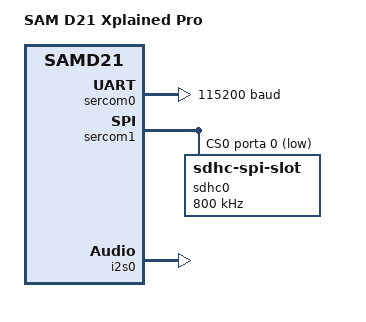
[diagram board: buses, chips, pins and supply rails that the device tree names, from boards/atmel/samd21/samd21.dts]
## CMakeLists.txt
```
cmake_minimum_required(VERSION 3.20.0)

list(APPEND BOARD_ROOT ${CMAKE_CURRENT_SOURCE_DIR})
list(APPEND DTS_ROOT ${CMAKE_CURRENT_SOURCE_DIR})


find_package(Zephyr REQUIRED HINTS $ENV{ZEPHYR_BASE})


project(philly)

enable_language(C ASM)

#add_subdirectory(drivers/i2s)

target_sources(app PRIVATE
src/main.c
)

include(drivers/i2s/i2s_drivers.cmake)
```

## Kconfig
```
# Copyright (c) 2021 Nordic Semiconductor ASA
# SPDX-License-Identifier: Apache-2.0
#
# This file is the application Kconfig entry point. All application Kconfig
# options can be defined here or included via other application Kconfig files.
# You can browse these options using the west targets menuconfig (terminal) or
# guiconfig (GUI).

menu "Zephyr"
source "Kconfig.zephyr"
endmenu

module = APP
module-str = APP
source "subsys/logging/Kconfig.template.log_config"

rsource "drivers/Kconfig"
```

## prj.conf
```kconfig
CONFIG_BUILD_OUTPUT_HEX=y
CONFIG_DISK_DRIVER_SDMMC=y
CONFIG_DISK_ACCESS=y
CONFIG_LOG=y
CONFIG_FILE_SYSTEM=y
CONFIG_FS_FATFS_EXFAT=y
CONFIG_FAT_FILESYSTEM_ELM=y
CONFIG_PRINTK=y
CONFIG_MAIN_STACK_SIZE=2048
CONFIG_KERNEL_BIN_NAME="philly_app"
```

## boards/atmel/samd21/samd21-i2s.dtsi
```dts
/*
 * Copyright (c) 2024 Klaus Nagel, <nagelkl01@gmail.com>
 *
 * SPDX-License-Identifier: Apache-2.0
 */

/ {
    soc {
        i2s0: i2s0@42005000 {
	        compatible = "atmel,i2s-sam0";
	        #address-cells = <1>;
	        #size-cells = <0>;
	        reg = <0x42005000 0x400>;
	        interrupts = <27 0>;
			clocks = <&gclk 35>, <&pm 0x20 20>;
			clock-names = "GCLK", "PM";
			atmel,assigned-clocks = <&gclk 0>;
			atmel,assigned-clock-names = "GCLK";
            dmas = <&dmac 0 41>,  
            		<&dmac 1 43>;
            dma-names = "rx", "tx";
	        status = "disabled";
			no-mck;
        };
	};
};
```

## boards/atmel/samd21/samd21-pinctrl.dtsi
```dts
/*
 * Copyright (c) 2022, Gerson Fernando Budke <nandojve@gmail.com>
 * SPDX-License-Identifier: Apache-2.0
 */

#include <dt-bindings/pinctrl/samd21-da1gXabcd-pinctrl.h>

&pinctrl {

	sercom0_uart_default: sercom0_uart_default {
		group1 {
			pinmux = <PA11C_SERCOM0_PAD3>,
				 <PA10C_SERCOM0_PAD2>;
		};
	};

	sercom1_spi_default: sercom1_spi_default {
		group1 {
			pinmux = <PA18C_SERCOM1_PAD2>,
				 <PA17C_SERCOM1_PAD1>,
				 <PA16C_SERCOM1_PAD0>;
		};
	};

	sam0_i2s_default: sam0_i2s_default {
		group1 {
			pinmux = <PA7G_IIS0_SD>, // esc_pwm_3 (orange)
					<PA20G_IIS0_SCK>, // ser_5_0 (green)
					<PA21G_IIS0_FS>; // ser_5_1 (blue)
		};
	};
};
```

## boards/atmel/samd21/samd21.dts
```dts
/*
 * Copyright (c) 2018 Bryan O'Donoghue
 * Copyright (c) 2024 Gerson Fernando Budke <nandojve@gmail.com>
 *
 * SPDX-License-Identifier: Apache-2.0
 */

/dts-v1/;
#include <freq.h>
#include <atmel/samd21.dtsi>
#include <atmel/samx2xx18.dtsi>
#include "samd21-pinctrl.dtsi"
#include "samd21-i2s.dtsi"
#include <zephyr/dt-bindings/input/input-event-codes.h>

/ {
	model = "SAM D21 Xplained Pro";
	compatible = "samd21,xpro", "atmel,samd21j18a", "atmel,samd21";

	chosen {
		zephyr,console = &sercom0;
		zephyr,shell-uart = &sercom0;
		zephyr,sram = &sram0;
		zephyr,flash = &flash0;
	};

	aliases {
		i2s = &i2s0;
		sdhc = &sdhc0;
	};
};

&cpu0 {
	clock-frequency = <DT_FREQ_M(48)>;
};

&sercom0 {
	status = "okay";
	compatible = "atmel,sam0-uart";
	current-speed = <115200>;
	rxpo = <3>;
	txpo = <1>;

	pinctrl-0 = <&sercom0_uart_default>;
	pinctrl-names = "default";
};

&sercom1 {
	status = "okay";
	compatible = "atmel,sam0-spi";
	dipo = <0x2>;
	dopo = <0x0>;
	#address-cells = <1>;
	#size-cells = <0>;

	pinctrl-0 = <&sercom1_spi_default>;
	pinctrl-names = "default";

	cs-gpios = <&porta 0 GPIO_ACTIVE_LOW>;

	sdhc0: sdhc@0 {
		compatible = "zephyr,sdhc-spi-slot";
		reg = <0>;
		status = "okay";
		spi-max-frequency = <800000>;
		sd {
			compatible = "zephyr,sdmmc-disk";
			disk-name = "SD";
			status = "okay";
		};
	};
};


&dmac {
	status = "okay";
};

&i2s0 {
	status = "okay";

	pinctrl-0 = <&sam0_i2s_default>;
	pinctrl-names = "default";
};
```

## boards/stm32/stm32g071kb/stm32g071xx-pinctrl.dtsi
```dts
/*
 * Copyright (c) 2022, Gerson Fernando Budke <nandojve@gmail.com>
 * SPDX-License-Identifier: Apache-2.0
 */

#include <zephyr/dt-bindings/pinctrl/stm32-pinctrl.h>

&pinctrl {

	lpuart1_tx_pa09_af1: uart1_tx {
		pinmux = <STM32_PINMUX('A', 9, AF1)>;
	};
	
	lpuart1_rx_pa10_af1: uart1_rx {
		pinmux = <STM32_PINMUX('A', 10, AF1)>;
	};
	
	spi2_miso_pb06_af3: spi2_miso {
		pinmux = <STM32_PINMUX('B', 6, AF3)>;
	};
	
	spi2_mosi_pb07_af1: spi2_mosi {
		pinmux = <STM32_PINMUX('B', 7, AF1)>;
	};
	
	spi2_sck_pb08_af1: spi2_sck {
		pinmux = <STM32_PINMUX('B', 8, AF1)>;
	};
	
	spi2_cs_pb09_af4: spi2_cs {
		pinmux = <STM32_PINMUX('B', 9, AF4)>;
	};

	i2s1_ws_pa04_af1: i2s1_ws {
		pinmux = <STM32_PINMUX('A', 4, AF1)>;
	};

	i2s1_ck_pa05_af1: i2s1_ck {
		pinmux = <STM32_PINMUX('A', 5, AF1)>;
	};

	i2s1_sd_pa07_af1: i2s1_sd {
		pinmux = <STM32_PINMUX('A', 7, AF1)>;
	};

};
```

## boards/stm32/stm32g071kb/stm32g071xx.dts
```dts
/*
 * Copyright (c) 2024 Klaus Nagel, <nagelkl01@gmail.com>
 *
 * SPDX-License-Identifier: Apache-2.0
 */

/dts-v1/;
#include <st/g0/stm32g071Xb.dtsi>
#include "stm32g071xx-pinctrl.dtsi"
#include "stm32g071xx-i2s.dtsi"

/ {
	model = "STMicroelectronics STM32G071XX based board";
	compatible = "st,stm32g071", "st,stm32g0", "simple-bus";

	chosen {
		zephyr,console = &lpuart1;
		zephyr,shell-uart = &lpuart1;
		zephyr,sram = &sram0;
		zephyr,flash = &flash0;
	};
};

stm32_lp_tick_source: &lptim1 {
	clocks = <&rcc STM32_CLOCK_BUS_APB1 0x80000000>,
			 <&rcc STM32_SRC_LSI LPTIM1_SEL(3)>;
	status = "okay";
};

&dma1 {
	status = "okay";
};

&lpuart1 {
	pinctrl-0 = <&lpuart1_tx_pa09_af1 &lpuart1_rx_pa10_af1>;
	pinctrl-names = "default";
	current-speed = <115200>;
	status = "okay";
};

&clk_hsi {
	status = "okay";
};

&pll {
	div-m = <1>;
	mul-n = <8>;
	div-p = <2>;
	div-q = <2>;
	div-r = <2>;
	clocks = <&clk_hsi>;
	status = "okay";
};

&rcc {
	clocks = <&pll>;
	clock-frequency = <DT_FREQ_M(64)>;
	ahb-prescaler = <1>;
	apb1-prescaler = <1>;
};

&spi1 {
	status = "disabled";
};

&spi2 {
	pinctrl-names = "default";
	pinctrl-0 = <&spi2_miso_pb06_af3
				 &spi2_mosi_pb07_af1 
				 &spi2_sck_pb08_af1
				 &spi2_cs_pb09_af4>;
	
	status = "okay";

	sdcard@0 {
		compatible = "zephyr,sdhc-spi-slot";
		reg = <0>;
		status = "okay";
		spi-max-frequency = <800000>;
		sd {
			compatible = "zephyr,sdmmc-disk";
			disk-name = "SD";
			status = "okay";
		};
	};
};

&i2s1 {
	status = "okay";

	pinctrl-0 = <&i2s1_ws_pa04_af1 &i2s1_ck_pa05_af1 &i2s1_sd_pa07_af1>;
	pinctrl-names = "default";
};
```

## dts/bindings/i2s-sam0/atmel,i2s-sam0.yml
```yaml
# Copyright (c) 2024 Nordic Semiconductor ASA
# SPDX-License-Identifier: Apache-2.0

description: |
  A generic binding for SAM0 I2S.

  Example definition in devicetree:
  
  i2s0: i2s@42005000 {
    compatible = "atmel,i2s-sam0";
    #address-cells = <1>;
    #size-cells = <0>;
    reg = <0x42005000 0x400>;
    interrupts = <27 0>;
    clocks = <&gclk 35>, <&pm 0x20 20>;
    clock-names = "I2S", "I2S_PM";
    dmas = <&dmac 41 0 &dmac 43 0>;
    dma-names = "rx", "tx";
    status = "disabled";
  };

compatible: "atmel,i2s-sam0"

include: [base.yaml, i2s-controller.yaml, pinctrl-device.yaml, "atmel,assigned-clocks.yaml" ]

properties:
  reg:
    required: true

  interrupts:
    required: true

  clocks:
    required: true
  
  clock-names:
    required: true
  
  atmel,assigned-clocks:
    required: true

  atmel,assigned-clock-names:
    required: true

  dmas:
    required: true

  dma-names:
    required: true

  no-mck:
    type: boolean
    required: false
```

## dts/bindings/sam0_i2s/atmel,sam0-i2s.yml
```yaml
# Copyright (c) 2024 Nordic Semiconductor ASA
# SPDX-License-Identifier: Apache-2.0

description: |
  A generic binding for SAM0 I2S.

  Example definition in devicetree:
  
  i2s0: i2s@42005000 {
    compatible = "atmel,sam0-i2s";
    #address-cells = <1>;
    #size-cells = <0>;
    reg = <0x42005000 0x400>;
    interrupts = <27 0>;
    clocks = <&gclk 35>, <&pm 0x20 20>;
    clock-names = "I2S", "I2S_PM";
    dmas = <&dmac 41 0 &dmac 43 0>;
    dma-names = "rx", "tx";
    status = "disabled";
  };

compatible: "atmel,sam0-i2s"

include: [i2s-controller.yaml, base.yaml, pinctrl-device.yaml, "atmel,assigned-clocks.yaml" ]

properties:
  reg:
    required: true

  interrupts:
    required: true

  clocks:
    required: true
  
  clock-names:
    required: true
  
  atmel,assigned-clocks:
    required: true

  atmel,assigned-clock-names:
    required: true

  dmas:
    required: true

  dma-names:
    required: true
```

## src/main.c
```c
/*
 * Copyright 2023 NXP
 *
 * SPDX-License-Identifier: Apache-2.0
 */

 #include <stdio.h>
 #include <zephyr/kernel.h>
 #include <zephyr/drivers/i2s.h>
 #include <zephyr/sys/iterable_sections.h>
 
 #define SAMPLE_NO 64
 
 /* The data represent a sine wave */
 static int16_t data[SAMPLE_NO] = {
       3211,   6392,   9511,  12539,  15446,  18204,  20787,  23169,
      25329,  27244,  28897,  30272,  31356,  32137,  32609,  32767,
      32609,  32137,  31356,  30272,  28897,  27244,  25329,  23169,
      20787,  18204,  15446,  12539,   9511,   6392,   3211,      0,
      -3212,  -6393,  -9512, -12540, -15447, -18205, -20788, -23170,
     -25330, -27245, -28898, -30273, -31357, -32138, -32610, -32767,
     -32610, -32138, -31357, -30273, -28898, -27245, -25330, -23170,
     -20788, -18205, -15447, -12540,  -9512,  -6393,  -3212,     -1,
 };
 
 /* Fill buffer with sine wave on left channel, and sine wave shifted by
  * 90 degrees on right channel. "att" represents a power of two to attenuate
  * the samples by
  */
 static void fill_buf(int16_t *tx_block, int att)
 {
     int r_idx;
 
     for (int i = 0; i < SAMPLE_NO; i++) {
         /* Left channel is sine wave */
         tx_block[2 * i] = data[i] / (1 << att);
         /* Right channel is same sine wave, shifted by 90 degrees */
         r_idx = (i + (ARRAY_SIZE(data) / 4)) % ARRAY_SIZE(data);
         tx_block[2 * i + 1] = data[r_idx] / (1 << att);
     }
 }
 
 #define NUM_BLOCKS 20
 #define BLOCK_SIZE (2 * sizeof(data))
 
 #ifdef CONFIG_NOCACHE_MEMORY
     #define MEM_SLAB_CACHE_ATTR __nocache
 #else
     #define MEM_SLAB_CACHE_ATTR
 #endif /* CONFIG_NOCACHE_MEMORY */
 
 static char MEM_SLAB_CACHE_ATTR __aligned(WB_UP(32))
     _k_mem_slab_buf_tx_0_mem_slab[(NUM_BLOCKS) * WB_UP(BLOCK_SIZE)];
 
 static STRUCT_SECTION_ITERABLE(k_mem_slab, tx_0_mem_slab) =
     Z_MEM_SLAB_INITIALIZER(tx_0_mem_slab, _k_mem_slab_buf_tx_0_mem_slab,
                 WB_UP(BLOCK_SIZE), NUM_BLOCKS);
 
 int main(void)
 {
     void *tx_block[NUM_BLOCKS];
     struct i2s_config i2s_cfg;
     int ret;
     uint32_t tx_idx;
     const struct device *dev_i2s = DEVICE_DT_GET(DT_ALIAS(i2s));
 
     if (!device_is_ready(dev_i2s)) {
         printf("I2S device not ready\n");
         return -ENODEV;
     }
     /* Configure I2S stream */
     i2s_cfg.word_size = 16U;
     i2s_cfg.channels = 2U;
     i2s_cfg.format = I2S_FMT_DATA_FORMAT_I2S;
     i2s_cfg.frame_clk_freq = 44100;
     i2s_cfg.block_size = BLOCK_SIZE;
     i2s_cfg.timeout = 2000;
     /* Configure the Transmit port as Master */
     i2s_cfg.options = I2S_OPT_FRAME_CLK_MASTER
             | I2S_OPT_BIT_CLK_MASTER;
     i2s_cfg.mem_slab = &tx_0_mem_slab;
     ret = i2s_configure(dev_i2s, I2S_DIR_TX, &i2s_cfg);
     if (ret < 0) {
         printf("Failed to configure I2S stream\n");
         return ret;
     }
 
     /* Prepare all TX blocks */
     for (tx_idx = 0; tx_idx < NUM_BLOCKS; tx_idx++) {
         ret = k_mem_slab_alloc(&tx_0_mem_slab, &tx_block[tx_idx],
                        K_FOREVER);
         if (ret < 0) {
             printf("Failed to allocate TX block\n");
             return ret;
         }
         fill_buf((uint16_t *)tx_block[tx_idx], tx_idx % 3);
     }
 
     tx_idx = 0;
     /* Send first block */
     ret = i2s_write(dev_i2s, tx_block[tx_idx++], BLOCK_SIZE);
     if (ret < 0) {
         printf("Could not write TX buffer %d\n", tx_idx);
         return ret;
     }
     /* Trigger the I2S transmission */
     ret = i2s_trigger(dev_i2s, I2S_DIR_TX, I2S_TRIGGER_START);
     if (ret < 0) {
         printf("Could not trigger I2S tx\n");
         return ret;
     }
 
     for (; tx_idx < NUM_BLOCKS; ) {
         ret = i2s_write(dev_i2s, tx_block[tx_idx++], BLOCK_SIZE);
         if (ret < 0) {
             printf("Could not write TX buffer %d\n", tx_idx);
             return ret;
         }
     }
     /* Drain TX queue */
     ret = i2s_trigger(dev_i2s, I2S_DIR_TX, I2S_TRIGGER_DRAIN);
     if (ret < 0) {
         printf("Could not trigger I2S tx\n");
         return ret;
     }
     printf("All I2S blocks written\n");
     
     while (true);
     return 0;
 }
 
```
